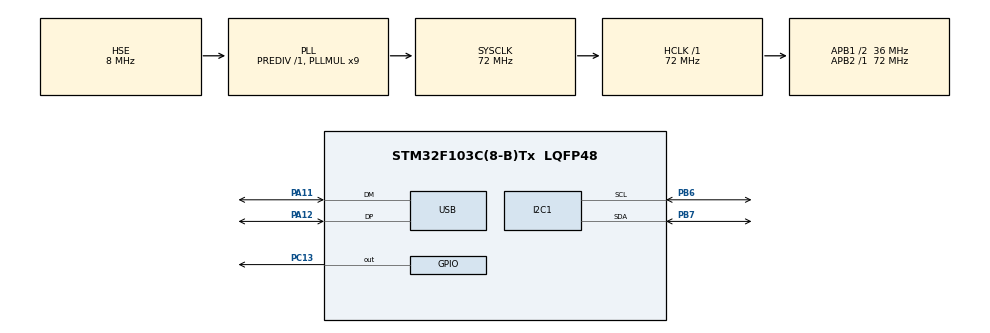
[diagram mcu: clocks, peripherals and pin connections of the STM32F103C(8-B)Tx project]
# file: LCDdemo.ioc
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Mcu.Family=STM32F1
Mcu.Name=STM32F103C(8-B)Tx
Mcu.Package=LQFP48
NVIC.PriorityGroup=NVIC_PRIORITYGROUP_4
NVIC.USB_LP_CAN1_RX0_IRQn=true\:0\:0\:false\:false\:true\:false\:true\:true
PA11.Mode=Device
PA11.Signal=USB_DM
PA12.Mode=Device
PA12.Signal=USB_DP
PA13.Mode=Serial_Wire
PA13.Signal=SYS_JTMS-SWDIO
PA14.Mode=Serial_Wire
PA14.Signal=SYS_JTCK-SWCLK
PB6.Mode=I2C
PB6.Signal=I2C1_SCL
PB7.Mode=I2C
PB7.Signal=I2C1_SDA
PC13-TAMPER-RTC.Signal=GPIO_Output
PD0-OSC_IN.Mode=HSE-External-Oscillator
PD0-OSC_IN.Signal=RCC_OSC_IN
PD1-OSC_OUT.Mode=HSE-External-Oscillator
PD1-OSC_OUT.Signal=RCC_OSC_OUT
ProjectManager.HeapSize=0x200
ProjectManager.StackSize=0x400
ProjectManager.TargetToolchain=STM32CubeIDE
RCC.AHBFreq_Value=72000000
RCC.APB1CLKDivider=RCC_HCLK_DIV2
RCC.APB1Freq_Value=36000000
RCC.APB1TimFreq_Value=72000000
RCC.APB2Freq_Value=72000000
RCC.APB2TimFreq_Value=72000000
RCC.HCLKFreq_Value=72000000
RCC.PLLMUL=RCC_PLL_MUL9
RCC.PLLSourceVirtual=RCC_PLLSOURCE_HSE
RCC.SYSCLKFreq_VALUE=72000000
RCC.SYSCLKSource=RCC_SYSCLKSOURCE_PLLCLK
RCC.USBFreq_Value=48000000
RCC.USBPrescaler=RCC_USBCLKSOURCE_PLL_DIV1_5
USB_DEVICE.CLASS_NAME_FS=CDC
USB_DEVICE.VirtualMode=Cdc
USB_DEVICE.VirtualModeFS=Cdc_FS
VP_USB_DEVICE_VS_USB_DEVICE_CDC_FS.Mode=CDC_FS
board=custom

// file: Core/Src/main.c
/* USER CODE BEGIN Header */
/**
  ******************************************************************************
  * @file           : main.c
  * @brief          : Main program body
  ******************************************************************************
  * @attention
  *
  * Copyright (c) 2024 STMicroelectronics.
  * All rights reserved.
  *
  * This software is licensed under terms that can be found in the LICENSE file
  * in the root directory of this software component.
  * If no LICENSE file comes with this software, it is provided AS-IS.
  *
  ******************************************************************************
  */
/* USER CODE END Header */
#include "main.h"
#include "usb_device.h"

/* USER CODE BEGIN Includes */
#include "liquidcrystal_i2c.h"
#include "usbd_cdc_if.h"
#include "string.h"
/* USER CODE END Includes */

I2C_HandleTypeDef hi2c1;

void SystemClock_Config(void);
static void MX_GPIO_Init(void);
static void MX_I2C1_Init(void);

/* USER CODE BEGIN 0 */
uint8_t dataBuffer[64];
uint8_t newData=0;
char* itoa(int value, char* result, int base) {
	// check that the base if valid
	if (base < 2 || base > 36) { *result = '\0'; return result; }

	char* ptr = result, *ptr1 = result, tmp_char;
	int tmp_value;

	do {
		tmp_value = value;
		value /= base;
		*ptr++ = "zyxwvutsrqponmlkjihgfedcba9876543210123456789abcdefghijklmnopqrstuvwxyz" [35 + (tmp_value - value * base)];
	} while ( value );

	// Apply negative sign
	if (tmp_value < 0) *ptr++ = '-';
	*ptr-- = '\0';
	while(ptr1 < ptr) {
		tmp_char = *ptr;
		*ptr--= *ptr1;
		*ptr1++ = tmp_char;
	}
	return result;
}
void printMessage(char* message) {
	char* lastchar=strrchr(message, ')');
	if(lastchar==NULL) {
		CDC_Transmit_FS((uint8_t *)"Print() requires both parentheses\n         ^\n", 45);
		return;
	}
	*lastchar='\0';
	uint8_t messageLength=strlen(message);
	CDC_Transmit_FS((uint8_t *)message, messageLength);
	if(messageLength>16) {
		HD44780_Clear();
		HD44780_SetCursor(0,0);
		HD44780_PrintStr(message);
		HD44780_SetCursor(0,1);
		HD44780_PrintStr(message+16);
	} else {
		HD44780_Clear();
		HD44780_SetCursor(0,0);
		HD44780_PrintStr(message);
	}
}
void printTime(uint8_t* time) {
	while(!newData) {
		HD44780_Clear();
		HD44780_SetCursor(0,0);
		HD44780_PrintStr((char *)time);
		time[7]++;
		if(time[7]==':'){
			time[7]='0';
			time[6]++;
			if(time[6]=='6') {
				time[6]='0';
				time[4]++;
				if(time[4]==':'){
					time[4]='0';
					time[3]++;
					if(time[3]=='6') {
						time[3]='0';
						time[1]++;
						if(time[1]==':'){
							time[1]='0';
							time[0]++;
						}
						if(time[0]=='2' && time[1]=='4') {
							time[0]='0';
							time[1]='0';
						}
					}
				}
			}
		}
		HAL_Delay(1000);
	}
}
void Execute_command(uint8_t* command) {
	if((uint8_t *)strstr((char *)command, "PRINT(")==command) {
		printMessage((char *)command+6);
	} else if((uint8_t *)strstr((char *)command, "TIME")==command) {
		printTime(command+4);
	} else {
		CDC_Transmit_FS((uint8_t *)"Invalid command", 15);
	}
}
/* USER CODE END 0 */

int main(void)
{

  /* MCU Configuration--------------------------------------------------------*/

  /* Reset of all peripherals, Initializes the Flash interface and the Systick. */
  HAL_Init();

  /* Configure the system clock */
  SystemClock_Config();

  /* Initialize all configured peripherals */
  MX_GPIO_Init();
  MX_I2C1_Init();
  MX_USB_DEVICE_Init();
  /* USER CODE BEGIN 2 */
  HD44780_Init(2);
  HD44780_Clear();
  HD44780_NoCursor();

  /* USER CODE END 2 */

  /* Infinite loop */
  while (1)
  {

    /* USER CODE BEGIN 3 */
	  if(newData) {
		  newData=0;
		  Execute_command(dataBuffer);
	  }
	  HAL_Delay(100);
  }
  /* USER CODE END 3 */
}

void SystemClock_Config(void)
{
  RCC_OscInitTypeDef RCC_OscInitStruct = {0};
  RCC_ClkInitTypeDef RCC_ClkInitStruct = {0};
  RCC_PeriphCLKInitTypeDef PeriphClkInit = {0};

  /** Initializes the RCC Oscillators according to the specified parameters
  * in the RCC_OscInitTypeDef structure.
  */
  RCC_OscInitStruct.OscillatorType = RCC_OSCILLATORTYPE_HSE;
  RCC_OscInitStruct.HSEState = RCC_HSE_ON;
  RCC_OscInitStruct.HSEPredivValue = RCC_HSE_PREDIV_DIV1;
  RCC_OscInitStruct.HSIState = RCC_HSI_ON;
  RCC_OscInitStruct.PLL.PLLState = RCC_PLL_ON;
  RCC_OscInitStruct.PLL.PLLSource = RCC_PLLSOURCE_HSE;
  RCC_OscInitStruct.PLL.PLLMUL = RCC_PLL_MUL9;
  if (HAL_RCC_OscConfig(&RCC_OscInitStruct) != HAL_OK)
  {
    Error_Handler();
  }

  /** Initializes the CPU, AHB and APB buses clocks
  */
  RCC_ClkInitStruct.ClockType = RCC_CLOCKTYPE_HCLK|RCC_CLOCKTYPE_SYSCLK
                              |RCC_CLOCKTYPE_PCLK1|RCC_CLOCKTYPE_PCLK2;
  RCC_ClkInitStruct.SYSCLKSource = RCC_SYSCLKSOURCE_PLLCLK;
  RCC_ClkInitStruct.AHBCLKDivider = RCC_SYSCLK_DIV1;
  RCC_ClkInitStruct.APB1CLKDivider = RCC_HCLK_DIV2;
  RCC_ClkInitStruct.APB2CLKDivider = RCC_HCLK_DIV1;

  if (HAL_RCC_ClockConfig(&RCC_ClkInitStruct, FLASH_LATENCY_2) != HAL_OK)
  {
    Error_Handler();
  }
  PeriphClkInit.PeriphClockSelection = RCC_PERIPHCLK_USB;
  PeriphClkInit.UsbClockSelection = RCC_USBCLKSOURCE_PLL_DIV1_5;
  if (HAL_RCCEx_PeriphCLKConfig(&PeriphClkInit) != HAL_OK)
  {
    Error_Handler();
  }
}

static void MX_I2C1_Init(void)
{

  hi2c1.Instance = I2C1;
  hi2c1.Init.ClockSpeed = 100000;
  hi2c1.Init.DutyCycle = I2C_DUTYCYCLE_2;
  hi2c1.Init.OwnAddress1 = 0;
  hi2c1.Init.AddressingMode = I2C_ADDRESSINGMODE_7BIT;
  hi2c1.Init.DualAddressMode = I2C_DUALADDRESS_DISABLE;
  hi2c1.Init.OwnAddress2 = 0;
  hi2c1.Init.GeneralCallMode = I2C_GENERALCALL_DISABLE;
  hi2c1.Init.NoStretchMode = I2C_NOSTRETCH_DISABLE;
  if (HAL_I2C_Init(&hi2c1) != HAL_OK)
  {
    Error_Handler();
  }

}

static void MX_GPIO_Init(void)
{
  GPIO_InitTypeDef GPIO_InitStruct = {0};

  /* GPIO Ports Clock Enable */
  __HAL_RCC_GPIOC_CLK_ENABLE();
  __HAL_RCC_GPIOD_CLK_ENABLE();
  __HAL_RCC_GPIOA_CLK_ENABLE();
  __HAL_RCC_GPIOB_CLK_ENABLE();

  /*Configure GPIO pin Output Level */
  HAL_GPIO_WritePin(GPIOC, GPIO_PIN_13, GPIO_PIN_RESET);

  /*Configure GPIO pin : PC13 */
  GPIO_InitStruct.Pin = GPIO_PIN_13;
  GPIO_InitStruct.Mode = GPIO_MODE_OUTPUT_PP;
  GPIO_InitStruct.Pull = GPIO_NOPULL;
  GPIO_InitStruct.Speed = GPIO_SPEED_FREQ_LOW;
  HAL_GPIO_Init(GPIOC, &GPIO_InitStruct);

}

void Error_Handler(void)
{
  __disable_irq();
  while (1)
  {
  }
}
